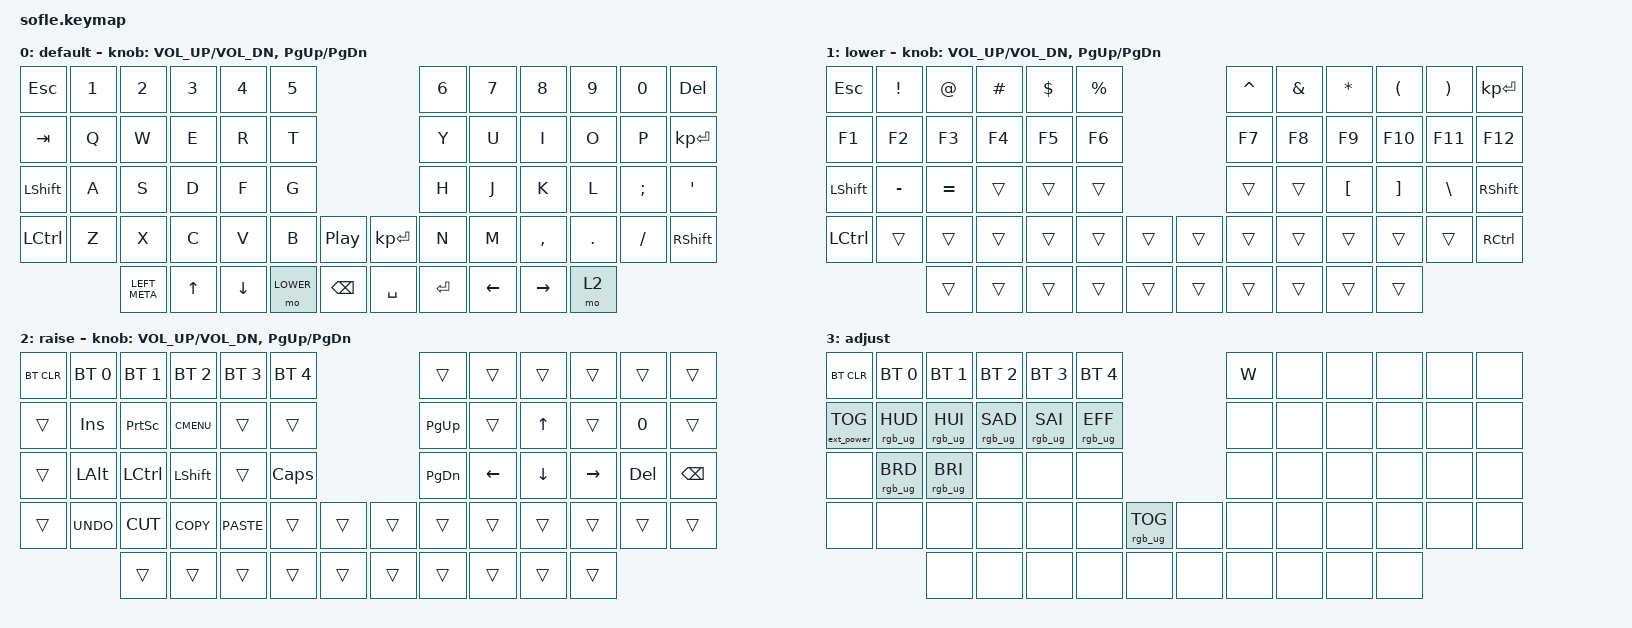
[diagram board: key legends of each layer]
/*
 * Copyright (c) 2020 The ZMK Contributors
 *
 * SPDX-License-Identifier: MIT
 */

#include <behaviors.dtsi>
#include <dt-bindings/zmk/bt.h>
#include <dt-bindings/zmk/ext_power.h>
#include <dt-bindings/zmk/keys.h>
#include <dt-bindings/zmk/rgb.h>

#define BASE 0
#define LOWER 1
#define RAISE 2
#define ADJUST 3

/ {
    // Activate ADJUST layer by pressing raise and lower

    conditional_layers {
        compatible = "zmk,conditional-layers";

        adjust_layer {
            if-layers = <LOWER RAISE>;
            then-layer = <ADJUST>;
        };
    };

    keymap {
        compatible = "zmk,keymap";

        default_layer {
            label = "default";

            // ------------------------------------------------------------------------------------------------------------
            // |   `   |  1  |  2  |  3   |  4   |  5   |                   |  6   |  7    |  8    |  9   |   0   |       |
            // |  ESC  |  Q  |  W  |  E   |  R   |  T   |                   |  Y   |  U    |  I    |  O   |   P   | BKSPC |
            // |  TAB  |  A  |  S  |  D   |  F   |  G   |                   |  H   |  J    |  K    |  L   |   ;   |   '   |
            // | SHIFT |  Z  |  X  |  C   |  V   |  B   |  MUTE  |  |       |  N   |  M    |  ,    |  .   |   /   | SHIFT |
            //               | GUI | ALT  | CTRL | LOWER|  ENTER |  | SPACE | RAISE| CTRL  | ALT   | GUI  |

            bindings = <
&kp ESC           &kp N1  &kp N2         &kp N3        &kp N4          &kp N5                                       &kp N6      &kp N7          &kp N8     &kp N9   &kp N0     &kp DELETE
&kp TAB           &kp Q   &kp W          &kp E         &kp R           &kp T                                        &kp Y       &kp U           &kp I      &kp O    &kp P      &kp KP_ENTER
&kp LSHIFT        &kp A   &kp S          &kp D         &kp F           &kp G                                        &kp H       &kp J           &kp K      &kp L    &kp SEMI   &kp APOS
&kp LEFT_CONTROL  &kp Z   &kp X          &kp C         &kp V           &kp B      &kp C_PLAY_PAUSE    &kp KP_ENTER  &kp N       &kp M           &kp COMMA  &kp DOT  &kp SLASH  &kp RIGHT_SHIFT
                          &kp LEFT_META  &kp UP_ARROW  &kp DOWN_ARROW  &mo LOWER  &kp BACKSPACE       &kp SPACE     &kp RETURN  &kp LEFT_ARROW  &kp RIGHT  &mo 2
            >;

            sensor-bindings = <&inc_dec_kp C_VOL_UP C_VOL_DN &inc_dec_kp PG_UP PG_DN>;
        };

        lower_layer {
            label = "lower";

            // TODO: Some binds are waiting for shifted keycode support.
            // ------------------------------------------------------------------------------------------------------------
            // |       |  F1 |  F2 |  F3  |  F4  |  F5  |                   |  F6  |  F7   |  F8   |  F9  |  F10  |  F11  |
            // |   `   |  1  |  2  |  3   |  4   |  5   |                   |  6   |  7    |  8    |  9   |   0   |  F12  |
            // |       |  !  |  @  |  #   |  $   |  %   |                   |  ^   |  &    |  *    |  (   |   )   |   |   |
            // |       |  =  |  -  |  +   |  {   |  }   |        |  |       |  [   |  ]    |  ;    |  :   |   \   |       |
            //               |     |      |      |      |        |  |       |      |       |       |      |

            bindings = <
&kp ESC           &kp EXCLAMATION  &kp AT_SIGN  &kp HASH  &kp DOLLAR  &kp PERCENT                    &kp CARET  &kp AMPERSAND  &kp ASTERISK      &kp LEFT_PARENTHESIS  &kp RIGHT_PARENTHESIS  &kp KP_ENTER
&kp F1            &kp F2           &kp F3       &kp F4    &kp F5      &kp F6                         &kp F7     &kp F8         &kp F9            &kp F10               &kp F11                &kp F12
&kp LEFT_SHIFT    &kp MINUS        &kp EQUAL    &trans    &trans      &trans                         &trans     &trans         &kp LEFT_BRACKET  &kp RIGHT_BRACKET     &kp BACKSLASH          &kp RIGHT_SHIFT
&kp LEFT_CONTROL  &trans           &trans       &trans    &trans      &trans       &trans    &trans  &trans     &trans         &trans            &trans                &trans                 &kp RIGHT_CONTROL
                                   &trans       &trans    &trans      &trans       &trans    &trans  &trans     &trans         &trans            &trans
            >;

            sensor-bindings = <&inc_dec_kp C_VOL_UP C_VOL_DN &inc_dec_kp PG_UP PG_DN>;
        };

        raise_layer {
            label = "raise";

            // ------------------------------------------------------------------------------------------------------------
            // | BTCLR | BT1  | BT2  |  BT3  |  BT4  |  BT5 |                |      |      |       |      |       |       |
            // |       | INS  | PSCR | GUI   |       |      |                | PGUP |      |   ^   |      |       |       |
            // |       | ALT  | CTRL | SHIFT |       | CAPS |                | PGDN |   <- |   v   |  ->  |  DEL  | BKSPC |
            // |       | UNDO | CUT  | COPY  | PASTE |      |      |  |      |      |      |       |      |       |       |
            //                |      |       |       |      |      |  |      |      |      |       |      |

            bindings = <
&bt BT_CLR  &bt BT_SEL 0  &bt BT_SEL 1  &bt BT_SEL 2  &bt BT_SEL 3  &bt BT_SEL 4                    &trans     &trans    &trans    &trans     &trans   &trans
&trans      &kp INS       &kp PSCRN     &kp K_CMENU   &trans        &trans                          &kp PG_UP  &trans    &kp UP    &trans     &kp N0   &trans
&trans      &kp LALT      &kp LCTRL     &kp LSHFT     &trans        &kp CLCK                        &kp PG_DN  &kp LEFT  &kp DOWN  &kp RIGHT  &kp DEL  &kp BSPC
&trans      &kp K_UNDO    &kp K_CUT     &kp K_COPY    &kp K_PASTE   &trans        &trans    &trans  &trans     &trans    &trans    &trans     &trans   &trans
                          &trans        &trans        &trans        &trans        &trans    &trans  &trans     &trans    &trans    &trans
            >;

            sensor-bindings = <&inc_dec_kp C_VOL_UP C_VOL_DN &inc_dec_kp PG_UP PG_DN>;
        };

        adjust_layer {
            // ----------------------------------------------------------------------------------------------------------------------------
            // | BTCLR  |  BT1    |  BT2    |   BT3   |   BT4   |   BT5   |                  |      |      |       |      |       |       |
            // | EXTPWR | RGB_HUD | RGB_HUI | RGB_SAD | RGB_SAI | RGB_EFF |                  |      |      |       |      |       |       |
            // |        | RGB_BRD | RGB_BRI |         |         |         |                  |      |      |       |      |       |       |
            // |        |         |         |         |         |         | RGB_TOG | |      |      |      |       |      |       |       |
            //                    |         |         |         |         |         | |      |      |      |       |      |

            label = "adjust";
            bindings = <
&bt BT_CLR         &bt BT_SEL 0     &bt BT_SEL 1     &bt BT_SEL 2     &bt BT_SEL 3     &bt BT_SEL 4                               &kp W  &none  &none  &none  &none  &none
&ext_power EP_TOG  &rgb_ug RGB_HUD  &rgb_ug RGB_HUI  &rgb_ug RGB_SAD  &rgb_ug RGB_SAI  &rgb_ug RGB_EFF                            &none  &none  &none  &none  &none  &none
&none              &rgb_ug RGB_BRD  &rgb_ug RGB_BRI  &none            &none            &none                                      &none  &none  &none  &none  &none  &none
&none              &none            &none            &none            &none            &none            &rgb_ug RGB_TOG    &none  &none  &none  &none  &none  &none  &none
                                    &none            &none            &none            &none            &none              &none  &none  &none  &none  &none
            >;
        };
    };
};
